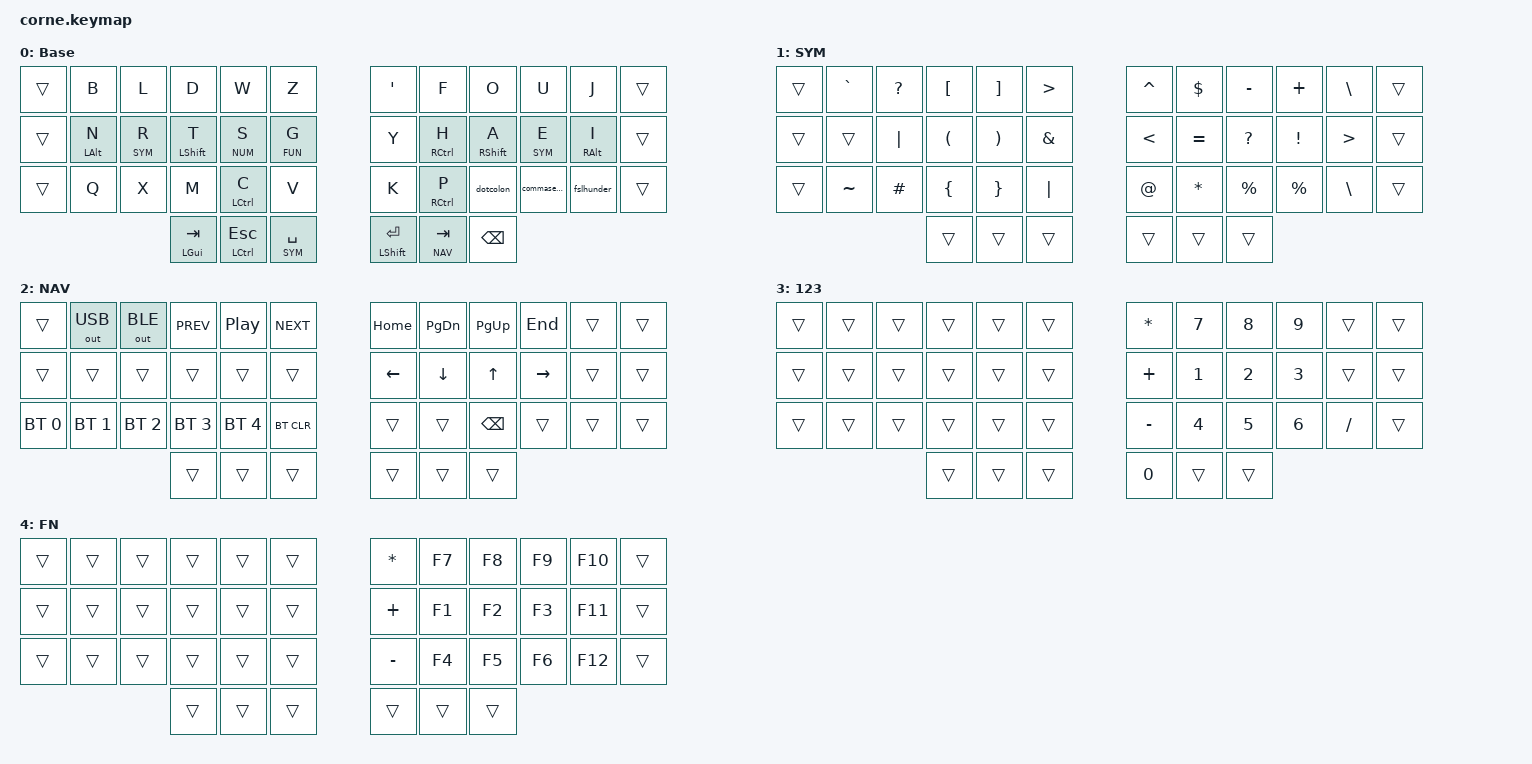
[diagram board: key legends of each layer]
/*
 * Copyright (c) 2020 The ZMK Contributors
 *
 * SPDX-License-Identifier: MIT
 */

#include <behaviors.dtsi>
#include <dt-bindings/zmk/keys.h>
#include <dt-bindings/zmk/bt.h>
#include <dt-bindings/zmk/outputs.h>

#define AS(keycode) &as LS(keycode) keycode

#define LEFTKEYS  <0 1 2 3 4  5  12 13 14 15 16 17 24 25 26 27 28 29 36 37 38 39 40 41>
#define RIGHTKEYS <6 7 8 9 10 11 18 19 20 21 22 23 30 31 32 33 34 35 36 37 38 39 40 41>
#define SYM 1
#define NAV 2
#define NUM 3
#define FUN 4
/ {

    behaviors {
        as: auto_shift {
            compatible = "zmk,behavior-hold-tap";
            #binding-cells = <2>;
            tapping_term_ms = <200>;
            quick_tap_ms = <0>;
            flavor = "tap-preferred";
            bindings = <&kp>, <&kp>;
        };
        hml: home_row_mod_left {
            compatible = "zmk,behavior-hold-tap";
            #binding-cells = <2>;
            flavor = "balanced";
            require-prior-idle-ms = <125>;
            tapping-term-ms = <280>;
            quick-tap-ms = <175>;
            bindings = <&kp>, <&kp>;
            hold-trigger-key-positions = RIGHTKEYS; // List of keys on the right side of the keyboard
            hold-trigger-on-release;
        };
        hmr: home_row_mod_right {
            compatible = "zmk,behavior-hold-tap";
            #binding-cells = <2>;
            flavor = "balanced";
            require-prior-idle-ms = <125>;
            tapping-term-ms = <280>;
            quick-tap-ms = <175>;
            bindings = <&kp>, <&kp>;
            hold-trigger-key-positions = LEFTKEYS; // List of keys on the left side of the keyboard
            hold-trigger-on-release;
        };
        hmlu: home_row_mod_left_undecided {
            compatible = "zmk,behavior-hold-tap";
            #binding-cells = <2>;
            flavor = "balanced";
            require-prior-idle-ms = <125>;
            tapping-term-ms = <280>;
            quick-tap-ms = <175>;
            bindings = <&kp>, <&kp>;
            hold-trigger-key-positions = RIGHTKEYS; // List of keys on the right side of the keyboard
            hold-while-undecided;
        };
        hmru: home_row_mod_right_undecided {
            compatible = "zmk,behavior-hold-tap";
            #binding-cells = <2>;
            flavor = "balanced";
            require-prior-idle-ms = <125>;
            tapping-term-ms = <280>;
            quick-tap-ms = <175>;
            bindings = <&kp>, <&kp>;
            hold-trigger-key-positions = LEFTKEYS; // List of keys on the left side of the keyboard
            hold-while-undecided;
        };
        hll: home_row_layer_left {
            compatible = "zmk,behavior-hold-tap";
            #binding-cells = <2>;
            flavor = "balanced";
            require-prior-idle-ms = <150>;
            tapping-term-ms = <280>;
            quick-tap-ms = <175>;
            bindings = <&mo>, <&kp>;
            hold-trigger-key-positions = RIGHTKEYS; // List of keys on the right side of the keyboard
	    hold-while-undecided;
            /* hold-trigger-on-release; */
        };
        hlr: home_row_layer_right {
            compatible = "zmk,behavior-hold-tap";
            #binding-cells = <2>;
            flavor = "balanced";
            require-prior-idle-ms = <150>;
            tapping-term-ms = <280>;
            quick-tap-ms = <175>;
            bindings = <&mo>, <&kp>;
            hold-trigger-key-positions = LEFTKEYS; // List of keys on the left side of the keyboard
	    hold-while-undecided;
            /* hold-trigger-on-release; */
        };
        lt: layer_tap {
            compatible = "zmk,behavior-hold-tap";
            #binding-cells = <2>;
            flavor = "tap-preferred";
            tapping-term-ms = <200>;
	    quick-tap-ms = <175>;
            bindings = <&mo>, <&kp>;
            display-name = "Layer-Tap";
        };
        mt: mod_tap {
            compatible = "zmk,behavior-hold-tap";
            #binding-cells = <2>;
            flavor = "hold-preferred";
            bindings = <&kp>, <&kp>;
            tapping-term-ms = <200>;
            quick-tap-ms = <175>;
            display-name = "Mod-Tap";
        };
        mtb: mod_tap {
	    compatible = "zmk,behavior-hold-tap";
            #binding-cells = <2>;
	    flavor = "balanced";
	    bindings = <&kp>, <&kp>;
	    tapping-term-ms = <200>;
	    quick-tap-ms = <175>;
	    display-name = "Mod-Tap-balanced";
        };
        fslhunder: morph_fs_under {
            compatible = "zmk,behavior-mod-morph";
            #binding-cells = <0>;
            bindings = <&kp FSLH>, <&kp UNDER>;
            mods = <(MOD_LSFT|MOD_RSFT)>;
        };
        commasemi: morph_comma_semi{
            compatible = "zmk,behavior-mod-morph";
            #binding-cells = <0>;
            bindings = <&kp COMMA>, <&kp SEMI>;
            mods = <(MOD_LSFT|MOD_RSFT)>;
        };
        dotcolon: morph_dot_colon{
            compatible = "zmk,behavior-mod-morph";
            #binding-cells = <0>;
            bindings = <&kp DOT>, <&kp COLON>;
            mods = <(MOD_LSFT|MOD_RSFT)>;
        };
        /* combos { */
        /*   compatible = "zmk,combos"; */
        /*   combo_meh{ */
        /*       timeout-ms = <50>; */
        /*       key-positions = <5 6>; */
        /*       bindings = <&kp RCTRL>, <&kp RSHIFT>, <&kp RALT>; */
        /* }; */
    /* }; */
    };
        keymap {
                compatible = "zmk,keymap";


default_layer {
                        display-name = "Base";
                        bindings = <
   &trans &kp B         &kp L       &kp D           &kp W           &kp Z               &kp SQT     &kp F           &kp O                 &kp U           &kp J                 &trans
   &trans &hml LALT N   &hll SYM R  &hmlu LSHIFT T  &hll NUM S      &hll FUN G          &kp Y       &hmru RCTRL H   &hmru RSHIFT A        &hlr SYM E      &hmr RALT I        &trans
   &trans &kp Q         &kp X       &kp M           &hmlu LCTRL C   &kp V               &kp K       &hmru RCTRL P   &dotcolon             &commasemi      &fslhunder        &trans
                        &mt LGUI TAB &mt LCTRL ESC &lt SYM SPACE                &mt LSHIFT RET &lt NAV TAB  &kp BSPC
                        >;
                };

                symbol_layer {
      display-name = "SYM";
                        bindings = <
   &trans &kp GRAVE  &kp QMARK &kp LBKT  &kp RBKT  &kp GT          &kp CARET &kp DLLR  &kp MINUS &kp PLUS  &kp BSLH         &trans 
   &trans &trans     &kp PIPE  &kp LPAR  &kp RPAR  &kp AMPS        &kp LT    &kp EQUAL &kp QMARK &kp EXCL  &kp GT        &trans
   &trans &kp TILDE  &kp HASH  &kp LBRC  &kp RBRC  &kp PIPE        &kp AT    &kp STAR  &kp PRCNT &kp PRCNT &kp BSLH        &trans
                            &trans    &trans    &trans        &trans    &trans    &trans
                        >;
                };

                navigation_layer {
      display-name = "NAV";
                        bindings = <
   &trans &out OUT_USB       &out OUT_BLE  &kp C_PREV    &kp C_PP      &kp C_NEXT    &kp HOME  &kp PG_DN &kp PG_UP &kp END   &trans        &trans
   &trans        &trans             &trans        &trans        &trans        &trans        &kp LEFT  &kp DOWN  &kp UP    &kp RIGHT &trans        &trans        
   &bt BT_SEL 0       &bt BT_SEL 1  &bt BT_SEL 2  &bt BT_SEL 3  &bt BT_SEL 4 &bt BT_CLR    &trans    &trans    &kp BSPC  &trans     &trans        &trans
                            &trans    &trans    &trans    &trans    &trans    &trans
                        >;
                };

                 number_layer {
      display-name = "123";
                        bindings = <
   &trans        &trans   &trans    &trans    &trans    &trans    &kp STAR  &kp N7    &kp N8    &kp N9    &trans    &trans
   &trans        &trans   &trans    &trans    &trans    &trans    &kp PLUS  &kp N1    &kp N2    &kp N3    &trans    &trans
   &trans        &trans   &trans    &trans    &trans    &trans    &kp MINUS &kp N4    &kp N5    &kp N6    &kp FSLH    &trans
                            &trans    &trans    &trans    &kp N0    &trans    &trans
                        >;
                };

                function_layer{
      display-name = "FN";
                        bindings = <
   &trans        &trans   &trans    &trans    &trans    &trans    &kp STAR  &kp F7      &kp F8    &kp F9    &kp F10    &trans
   &trans        &trans   &trans    &trans    &trans    &trans    &kp PLUS  &kp F1      &kp F2    &kp F3    &kp F11    &trans
   &trans        &trans   &trans    &trans    &trans    &trans    &kp MINUS &kp F4      &kp F5    &kp F6    &kp F12    &trans
                            &trans    &trans    &trans    &trans    &trans    &trans
                        >;
                };
  };

};
